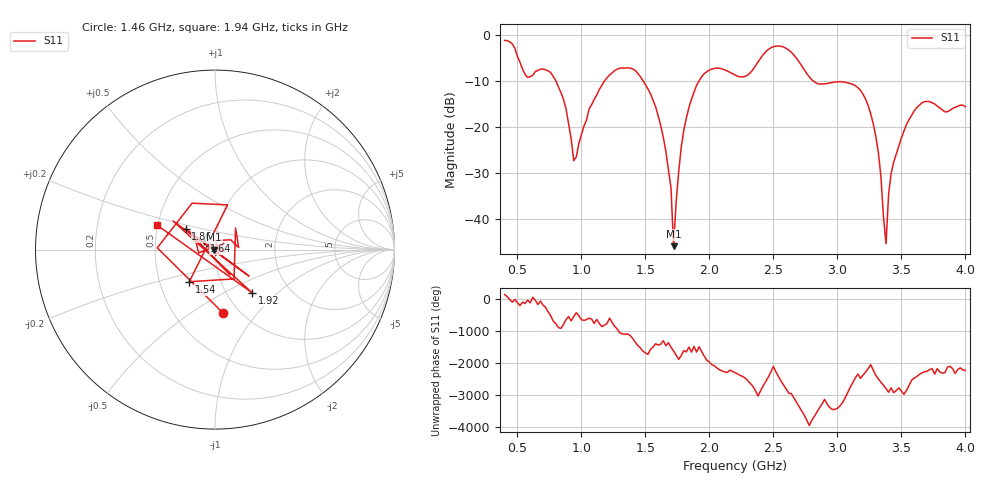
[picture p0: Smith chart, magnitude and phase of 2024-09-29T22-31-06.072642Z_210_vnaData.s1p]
!Created with skrf (http://scikit-rf.org).
# Hz S RI R 50.0
!freq ReS11 ImS11
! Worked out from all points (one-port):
!   181 points, 400 MHz to 4 GHz, reference 50 ohm
!   lowest |S11| = -45.8 dB at 1.72 GHz (marker M1), VSWR 1.01, Z = 49.5 + j0.0143 ohm
!   |S11| at or under -10 dB: 801.3 MHz to 1.179 GHz (378 MHz wide, 38.2 % of centre); 1.483 GHz to 1.919 GHz (435.7 MHz wide, 25.6 % of centre); 2.812 GHz to end of sweep
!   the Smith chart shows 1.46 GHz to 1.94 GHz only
!   S11 on the Smith chart (normalised r, x): 1.46 GHz: 0.84, -0.67; 1.54 GHz: 0.71, -0.27; 1.64 GHz: 0.88, +0.08; 1.86 GHz: 0.70, +0.17; 1.92 GHz: 1.31, -0.70; 1.94 GHz: 0.49, +0.16
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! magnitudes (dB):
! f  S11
! 400 MHz  -1.2
! 580 MHz  -9.2
! 860 MHz  -14.0
! 940 MHz  -27.3
! 1.06 GHz  -16.1
! 1.3 GHz  -7.2
! 1.46 GHz  -9.0
! 1.54 GHz  -12.8
! 1.64 GHz  -22.2
! 1.7 GHz  -33.2
! 1.72 GHz  -45.8
! 1.76 GHz  -29.7
! 1.86 GHz  -14.0
! 1.92 GHz  -9.9
! 1.94 GHz  -9.1
! 2.2 GHz  -8.7
! 2.5 GHz  -2.6
! 2.66 GHz  -4.4
! 2.84 GHz  -10.5
! 3.1 GHz  -10.6
! 3.28 GHz  -19.3
! 3.34 GHz  -30.7
! 3.38 GHz  -45.3
! 3.4 GHz  -34.6
! 3.42 GHz  -30.0
! 3.56 GHz  -18.4
! 3.68 GHz  -14.5
! 4 GHz  -15.6
